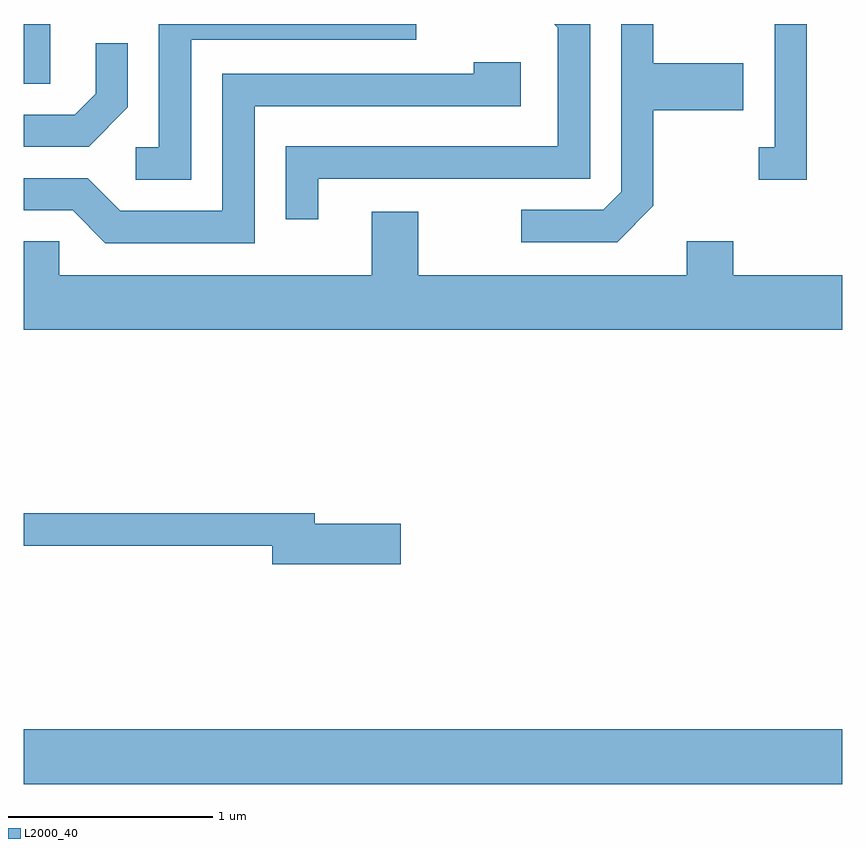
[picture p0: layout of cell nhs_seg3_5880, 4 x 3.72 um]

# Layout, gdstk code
import gdstk
lib = gdstk.Library(unit=1e-6, precision=1e-09)
def R(c, l, rs):  # rectangles x0, y0, x1, y1
    for r in rs: c.add(gdstk.rectangle(r[:2], r[2:], *l))
def P(c, l, *ps):  # polygons
    for p in ps: c.add(gdstk.Polygon(p, *l))
L2000_40 = (2000, 40)

nhs_seg3_5880 = lib.new_cell('nhs_seg3_5880')
R(nhs_seg3_5880, L2000_40, [(357.611,1188.176,361.611,1188.444), (357.611,1191.601,357.739,1191.892)])
P(nhs_seg3_5880, L2000_40, [(360.689,1191.004),(360.689,1191.471),(361.129,1191.471),(361.129,1191.699),(360.689,1191.699),(360.689,1191.892),(360.531,1191.892),(360.531,1191.072),(360.444,1190.984),(360.043,1190.984),(360.043,1190.826),(360.512,1190.826)],
  [(359.049,1191.136),(360.379,1191.136),(360.379,1191.892),(360.203,1191.892),(360.221,1191.874),(360.221,1191.294),(358.891,1191.294),(358.891,1190.938),(359.049,1190.938)],
  [(358.429,1191.816),(359.528,1191.816),(359.528,1191.892),(358.271,1191.892),(358.271,1191.289),(358.158,1191.289),(358.158,1191.131),(358.429,1191.131)],
  [(361.439,1191.892),(361.281,1191.892),(361.281,1191.289),(361.203,1191.289),(361.203,1191.131),(361.439,1191.131)],
  [(358.119,1191.484),(358.119,1191.798),(357.961,1191.798),(357.961,1191.552),(357.859,1191.449),(357.611,1191.449),(357.611,1191.291),(357.927,1191.291)],
  [(358.739,1191.491),(360.039,1191.491),(360.039,1191.704),(359.811,1191.704),(359.811,1191.649),(358.581,1191.649),(358.581,1190.979),(358.082,1190.979),(357.922,1191.139),(357.611,1191.139),(357.611,1190.981),(357.849,1190.981),(358.009,1190.821),(358.739,1190.821)],
  [(361.611,1190.664),(361.079,1190.664),(361.079,1190.829),(360.851,1190.829),(360.851,1190.664),(359.539,1190.664),(359.539,1190.974),(359.311,1190.974),(359.311,1190.664),(357.784,1190.664),(357.784,1190.829),(357.611,1190.829),(357.611,1190.396),(361.611,1190.396)],
  [(359.454,1189.449),(359.034,1189.449),(359.034,1189.499),(357.611,1189.499),(357.611,1189.341),(358.826,1189.341),(358.826,1189.251),(359.454,1189.251)])

lib.write_gds('nhs_seg3_5880.gds')
